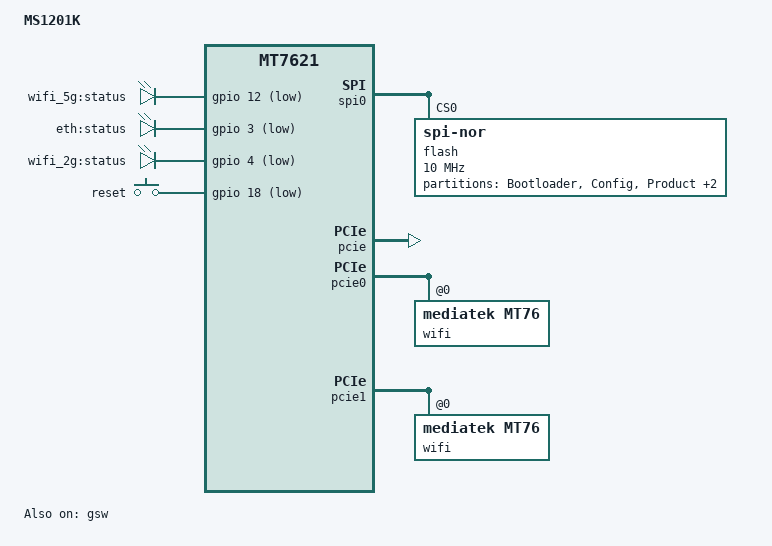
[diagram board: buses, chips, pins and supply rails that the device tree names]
/dts-v1/;

#include "mt7621.dtsi"

#include <dt-bindings/gpio/gpio.h>
#include <dt-bindings/input/input.h>

/ {
	compatible = "xwrt,ms1201k", "mediatek,mt7621-soc";
	model = "MS1201K";

	aliases {
		led-boot = &eth_led;
		led-failsafe = &eth_led;
		led-upgrade = &eth_led;
		label-mac-device = &gmac0;
	};

	chosen {
		bootargs = "console=ttyS0,115200";
	};

	leds {
		compatible = "gpio-leds";

		wifi_5g_led: wifi_5g_led {
			label = "wifi_5g:status";
			gpios = <&gpio 12 GPIO_ACTIVE_LOW>;
		};

		eth_led: eth_led {
			label = "eth:status";
			gpios = <&gpio 3 GPIO_ACTIVE_LOW>;
		};

		wifi_2g_led: wifi_2g_led {
			label = "wifi_2g:status";
			gpios = <&gpio 4 GPIO_ACTIVE_LOW>;
		};
	};


	keys {
		compatible = "gpio-keys";

		reset {
			label = "reset";
			gpios = <&gpio 18 GPIO_ACTIVE_LOW>;
			linux,code = <KEY_RESTART>;
		};
	};
};

&spi0 {
	status = "okay";

	flash@0 {
		compatible = "jedec,spi-nor";
		reg = <0>;
		spi-max-frequency = <10000000>;

		partitions {
			compatible = "fixed-partitions";
			#address-cells = <1>;
			#size-cells = <1>;

			partition@0 {
				label = "Bootloader";
				reg = <0x0 0x30000>;
			};

			partition@30000 {
				label = "Config";
				reg = <0x30000 0x10000>;
			};

			partition@40000 {
				label = "Product";
				reg = <0x40000 0x10000>;
			};

			factory: partition@50000 {
				label = "factory";
				reg = <0x50000 0x40000>;
			};

			partition@90000 {
				compatible = "denx,uimage";
				label = "firmware";
				reg = <0x90000 0xf70000>;
			};
		};
	};
};

&pcie {
	status = "okay";
};

&pcie0 {
	wifi@0,0 {
		compatible = "mediatek,mt76";
		reg = <0x0 0 0 0 0>;
		mediatek,mtd-eeprom = <&factory 0x0>;
		ieee80211-freq-limit = <2400000 2500000>;
	};
};

&pcie1 {
	wifi@0,0 {
		compatible = "mediatek,mt76";
		reg = <0x0 0 0 0 0>;
		mediatek,mtd-eeprom = <&factory 0x8000>;
		ieee80211-freq-limit = <5000000 6000000>;
	};
};

&gmac0 {
        mtd-mac-address = <&factory 0xe000>;
        nvmem-cells = <&macaddr_factory_e000>;
        nvmem-cell-names = "mac-address";
};

&ethernet {
	pinctrl-0 = <&mdio_pins>, <&rgmii1_pins>;
};

&switch0 {
	/* must delete compatible property */
	/delete-property/ compatible;
	phy-mode = "rgmii";
};

&gsw {
        compatible = "mediatek,mt753x";
        status = "okay";

        mediatek,mdio = <&mdio>;
        mediatek,portmap = "llllw";
        mt7530,direct-phy-access;
        resets = <&rstctrl 2>;
        reset-names = "mcm";
        mediatek,mcm;

        #address-cells = <1>;
        #size-cells = <0>;

        /*
        port5: port@5 {
                compatible = "mediatek,mt753x-port";
                reg = <5>;
                phy-mode = "rgmii";
                fixed-link {
                        speed = <1000>;
                        full-duplex;
                };
        };
        */

        port6: port@6 {
                compatible = "mediatek,mt753x-port";
                reg = <6>;
                phy-mode = "rgmii";
                fixed-link {
                        speed = <1000>;
                        full-duplex;
                };
        };
};

&state_default {
	gpio {
		groups = "i2c", "wdt", "uart2";
		function = "gpio";
	};
};

&factory {
	compatible = "nvmem-cells";
	#address-cells = <1>;
	#size-cells = <1>;

	macaddr_factory_e000: macaddr@e000 {
		reg = <0xe000 0x6>;
	};
};
